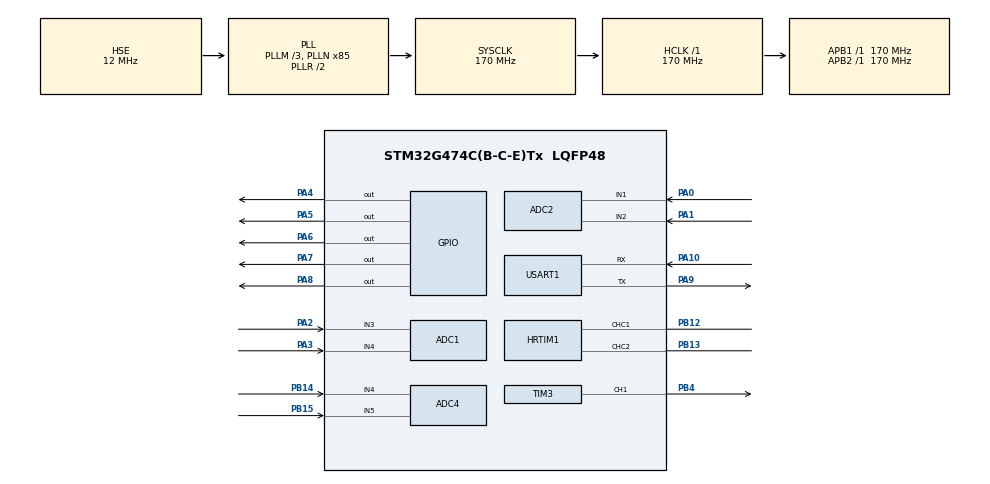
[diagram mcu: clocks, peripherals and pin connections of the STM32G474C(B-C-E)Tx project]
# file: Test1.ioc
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ADC1.Channel-1\#ChannelRegularConversion=ADC_CHANNEL_3
ADC1.DMAAccessModeView=ENABLE
ADC1.DMAContinuousRequests=ENABLE
ADC1.ExternalTrigConv=ADC_EXTERNALTRIG_HRTIM_TRG1
ADC1.Mode=ADC_DUALMODE_REGSIMULT
ADC1.NbrOfConversionFlag=1
ADC1.OffsetNumber-1\#ChannelRegularConversion=ADC_OFFSET_NONE
ADC1.OversamplingMode=ENABLE
ADC1.Rank-1\#ChannelRegularConversion=1
ADC1.Ratio=ADC_OVERSAMPLING_RATIO_4
ADC1.RightBitShift=ADC_RIGHTBITSHIFT_2
ADC1.SamplingTime-1\#ChannelRegularConversion=ADC_SAMPLETIME_6CYCLES_5
ADC1.SingleDiff-1\#ChannelRegularConversion=ADC_DIFFERENTIAL_ENDED
ADC1.master=1
ADC2.Channel-0\#ChannelRegularConversion=ADC_CHANNEL_1
ADC2.DMAAccessModeView=ENABLE
ADC2.Mode=ADC_DUALMODE_REGSIMULT
ADC2.NbrOfConversionFlag=1
ADC2.OffsetNumber-0\#ChannelRegularConversion=ADC_OFFSET_NONE
ADC2.OversamplingMode=ENABLE
ADC2.Rank-0\#ChannelRegularConversion=1
ADC2.Ratio=ADC_OVERSAMPLING_RATIO_4
ADC2.RightBitShift=ADC_RIGHTBITSHIFT_2
ADC2.SamplingTime-0\#ChannelRegularConversion=ADC_SAMPLETIME_6CYCLES_5
ADC2.SingleDiff-0\#ChannelRegularConversion=ADC_DIFFERENTIAL_ENDED
ADC4.Channel-0\#ChannelRegularConversion=ADC_CHANNEL_4
ADC4.DMAContinuousRequests=ENABLE
ADC4.ExternalTrigConv=ADC_EXTERNALTRIG_HRTIM_TRG1
ADC4.NbrOfConversionFlag=1
ADC4.OffsetNumber-0\#ChannelRegularConversion=ADC_OFFSET_NONE
ADC4.OversamplingMode=ENABLE
ADC4.Rank-0\#ChannelRegularConversion=1
ADC4.Ratio=ADC_OVERSAMPLING_RATIO_4
ADC4.RightBitShift=ADC_RIGHTBITSHIFT_2
ADC4.SamplingTime-0\#ChannelRegularConversion=ADC_SAMPLETIME_6CYCLES_5
ADC4.SingleDiff-0\#ChannelRegularConversion=ADC_DIFFERENTIAL_ENDED
Dma.ADC1.0.Direction=DMA_PERIPH_TO_MEMORY
Dma.ADC1.0.EventEnable=DISABLE
Dma.ADC1.0.Instance=DMA1_Channel1
Dma.ADC1.0.MemDataAlignment=DMA_MDATAALIGN_WORD
Dma.ADC1.0.MemInc=DMA_MINC_ENABLE
Dma.ADC1.0.Mode=DMA_CIRCULAR
Dma.ADC1.0.PeriphDataAlignment=DMA_PDATAALIGN_WORD
Dma.ADC1.0.PeriphInc=DMA_PINC_DISABLE
Dma.ADC1.0.Polarity=HAL_DMAMUX_REQ_GEN_RISING
Dma.ADC1.0.Priority=DMA_PRIORITY_VERY_HIGH
Dma.ADC1.0.RequestNumber=1
Dma.ADC1.0.SignalID=NONE
Dma.ADC1.0.SyncEnable=DISABLE
Dma.ADC1.0.SyncPolarity=HAL_DMAMUX_SYNC_NO_EVENT
Dma.ADC1.0.SyncRequestNumber=1
Dma.ADC1.0.SyncSignalID=NONE
Dma.ADC4.1.Direction=DMA_PERIPH_TO_MEMORY
Dma.ADC4.1.EventEnable=DISABLE
Dma.ADC4.1.Instance=DMA1_Channel2
Dma.ADC4.1.MemDataAlignment=DMA_MDATAALIGN_HALFWORD
Dma.ADC4.1.MemInc=DMA_MINC_ENABLE
Dma.ADC4.1.Mode=DMA_CIRCULAR
Dma.ADC4.1.PeriphDataAlignment=DMA_PDATAALIGN_HALFWORD
Dma.ADC4.1.PeriphInc=DMA_PINC_DISABLE
Dma.ADC4.1.Polarity=HAL_DMAMUX_REQ_GEN_RISING
Dma.ADC4.1.Priority=DMA_PRIORITY_HIGH
Dma.ADC4.1.RequestNumber=1
Dma.ADC4.1.SignalID=NONE
Dma.ADC4.1.SyncEnable=DISABLE
Dma.ADC4.1.SyncPolarity=HAL_DMAMUX_SYNC_NO_EVENT
Dma.ADC4.1.SyncRequestNumber=1
Dma.ADC4.1.SyncSignalID=NONE
Dma.Request0=ADC1
Dma.Request1=ADC4
HRTIM1.ADCTrigger1_Source1=HRTIM_ADCTRIGGEREVENT13_MASTER_CMP1
HRTIM1.ADCTrigger_Id1=HRTIM_ADCTRIGGER_1
HRTIM1.ADCTrigger_Id2=__NULL
HRTIM1.CompareUnit1-MasterTimer=HRTIM_COMPAREUNIT_1
HRTIM1.CompareUnit1-Output_TC1TC2=HRTIM_COMPAREUNIT_1
HRTIM1.CompareUnit2-Output_TC1TC2=HRTIM_COMPAREUNIT_2
HRTIM1.CompareUnit3-MasterTimer=__NULL
HRTIM1.CompareUnit3-Output_TC1TC2=HRTIM_COMPAREUNIT_3
HRTIM1.CompareUnit4-Output_TC1TC2=HRTIM_COMPAREUNIT_4
HRTIM1.CompareValue1-MasterTimer=26200
HRTIM1.CompareValue1-Output_TC1TC2=13600
HRTIM1.CompareValue2-Output_TC1TC2=27200
HRTIM1.CompareValue3-Output_TC1TC2=30000
HRTIM1.CompareValue4-Output_TC1TC2=40000
HRTIM1.Deadtimeconfig-Output_TC1TC2=__NULL
HRTIM1.GreaterCMP1_TC=HRTIM_TIMERGTCMP1_EQUAL
HRTIM1.NumberADCTriggerSource1=1
HRTIM1.NumberResetSource1-Output_TC1TC2=2
HRTIM1.NumberSetSource1-Output_TC1TC2=2
HRTIM1.ORingUpdateSource_ADCTrigger1=HRTIM_ADCTRIGGERUPDATE_MASTER
HRTIM1.Periode_MASTER=54400
HRTIM1.Periode_TC=54400
HRTIM1.PreloadEnable-MasterTimer=HRTIM_PRELOAD_ENABLED
HRTIM1.PreloadEnable-Output_TC1TC2=HRTIM_PRELOAD_ENABLED
HRTIM1.PrescalerRatio_MASTER=HRTIM_PRESCALERRATIO_MUL16
HRTIM1.PrescalerRatio_TC=HRTIM_PRESCALERRATIO_MUL16
HRTIM1.RepetitionCounter-MasterTimer=0
HRTIM1.RepetitionUpdate-MasterTimer=HRTIM_UPDATEONREPETITION_ENABLED
HRTIM1.RepetitionUpdate-Output_TC1TC2=HRTIM_UPDATEONREPETITION_ENABLED
HRTIM1.ResetOutput1_Source1-Output_TC1TC2=HRTIM_OUTPUTRESET_TIMCMP2
HRTIM1.ResetOutput1_Source2-Output_TC1TC2=HRTIM_OUTPUTRESET_TIMCMP4
HRTIM1.SetOutput1_Source1-Output_TC1TC2=HRTIM_OUTPUTSET_TIMCMP1
HRTIM1.SetOutput1_Source2-Output_TC1TC2=HRTIM_OUTPUTSET_TIMCMP3
HRTIM1.UpDownMode-Output_TC1TC2=HRTIM_TIMERUPDOWNMODE_UP
Mcu.Family=STM32G4
Mcu.Name=STM32G474C(B-C-E)Tx
Mcu.Package=LQFP48
NVIC.DMA1_Channel2_IRQn=true\:0\:0\:false\:false\:false\:true\:true\:true
NVIC.PriorityGroup=NVIC_PRIORITYGROUP_4
NVIC.TIM1_UP_TIM16_IRQn=true\:1\:0\:true\:false\:false\:true\:true\:true
PA0.Mode=IN1-Differential
PA0.Signal=ADC2_IN1
PA1.Mode=IN1-Differential
PA1.Signal=ADC2_IN2
PA10.Mode=Asynchronous
PA10.Signal=USART1_RX
PA13.Mode=JTAG_4_pins
PA13.Signal=SYS_JTMS-SWDIO
PA14.Mode=JTAG_4_pins
PA14.Signal=SYS_JTCK-SWCLK
PA15.Mode=JTAG_4_pins
PA15.Signal=SYS_JTDI
PA2.Mode=IN3-Differential
PA2.Signal=ADC1_IN3
PA3.Mode=IN3-Differential
PA3.Signal=ADC1_IN4
PA4.Signal=GPIO_Output
PA5.Signal=GPIO_Output
PA6.Signal=GPIO_Output
PA7.Signal=GPIO_Output
PA8.GPIO_Speed=GPIO_SPEED_FREQ_MEDIUM
PA8.PinState=GPIO_PIN_RESET
PA8.Signal=GPIO_Output
PA9.Mode=Asynchronous
PA9.Signal=USART1_TX
PB12.Mode=Output_TC1TC2
PB12.Signal=HRTIM1_CHC1
PB13.Mode=Output_TC1TC2
PB13.Signal=HRTIM1_CHC2
PB14.Mode=IN4-Differential
PB14.Signal=ADC4_IN4
PB15.Mode=IN4-Differential
PB15.Signal=ADC4_IN5
PB3.Mode=JTAG_4_pins
PB3.Signal=SYS_JTDO-SWO
PB4.Signal=S_TIM3_CH1
PF0-OSC_IN.Mode=HSE-External-Oscillator
PF0-OSC_IN.Signal=RCC_OSC_IN
PF1-OSC_OUT.Mode=HSE-External-Oscillator
PF1-OSC_OUT.Signal=RCC_OSC_OUT
ProjectManager.HeapSize=0x200
ProjectManager.StackSize=0x400
ProjectManager.TargetToolchain=CMake
RCC.ADC12Freq_Value=170000000
RCC.ADC345Freq_Value=170000000
RCC.AHBFreq_Value=170000000
RCC.APB1Freq_Value=170000000
RCC.APB1TimFreq_Value=170000000
RCC.APB2Freq_Value=170000000
RCC.APB2TimFreq_Value=170000000
RCC.CortexFreq_Value=170000000
RCC.EXTERNAL_CLOCK_VALUE=12288000
RCC.HCLKFreq_Value=170000000
RCC.HSE_VALUE=12000000
RCC.HSI48_VALUE=48000000
RCC.HSI_VALUE=16000000
RCC.LSE_VALUE=32768
RCC.PLLM=RCC_PLLM_DIV3
RCC.PLLN=85
RCC.PLLSourceVirtual=RCC_PLLSOURCE_HSE
RCC.SYSCLKFreq_VALUE=170000000
RCC.SYSCLKSource=RCC_SYSCLKSOURCE_PLLCLK
RCC.USBFreq_Value=170000000
RCC.VCOOutputFreq_Value=340000000
SH.S_TIM3_CH1.0=TIM3_CH1,PWM Generation1 CH1
TIM1.Channel-Output\ Compare1\ No\ Output=TIM_CHANNEL_1
TIM1.PeriodNoDither=100
TIM1.Prescaler=1699
TIM3.Channel-PWM\ Generation1\ CH1=TIM_CHANNEL_1
TIM3.PeriodNoDither=3999
TIM3.Prescaler=169
USART1.VirtualMode-Asynchronous=VM_ASYNC
VP_CORDIC_VS_CORDIC.Mode=CORDIC_Activate
VP_HRTIM1_VS_hrtimMasterTimerNoOutput.Mode=MasterTimer
VP_SYS_VS_DBSignals.Mode=DisableDeadBatterySignals
VP_SYS_V_VREFBUF.Mode=ExternalMode
VP_TIM1_VS_ClockSourceINT.Mode=Internal
VP_TIM1_VS_no_output1.Mode=Output Compare1 No Output
VP_TIM3_VS_ClockSourceINT.Mode=Internal
board=custom

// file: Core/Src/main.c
/* USER CODE BEGIN Header */
/**
  ******************************************************************************
  * @file           : main.c
  * @brief          : Main program body
  ******************************************************************************
  * @attention
  *
  * Copyright (c) 2026 STMicroelectronics.
  * All rights reserved.
  *
  * This software is licensed under terms that can be found in the LICENSE file
  * in the root directory of this software component.
  * If no LICENSE file comes with this software, it is provided AS-IS.
  *
  ******************************************************************************
  */
/* USER CODE END Header */
#include "main.h"

/* USER CODE BEGIN Includes */
#include "droop_control.h"
#include "fast_math.h"
#include "stimulus.h"
#include "stats_uart.h"
/* USER CODE END Includes */

ADC_HandleTypeDef hadc1;
ADC_HandleTypeDef hadc2;
ADC_HandleTypeDef hadc4;
DMA_HandleTypeDef hdma_adc1;
DMA_HandleTypeDef hdma_adc4;

CORDIC_HandleTypeDef hcordic;

HRTIM_HandleTypeDef hhrtim1;

TIM_HandleTypeDef htim1;
TIM_HandleTypeDef htim3;

UART_HandleTypeDef huart1;

void SystemClock_Config(void);
static void MX_GPIO_Init(void);
static void MX_DMA_Init(void);
static void MX_TIM3_Init(void);
static void MX_USART1_UART_Init(void);
static void MX_ADC1_Init(void);
static void MX_HRTIM1_Init(void);
static void MX_CORDIC_Init(void);
static void MX_TIM1_Init(void);
static void MX_ADC2_Init(void);
static void MX_ADC4_Init(void);

/* USER CODE BEGIN 0 */
/* ============ 50 kHz fast control loop, driven by the ADC DMA streams ============
 * All peripheral configuration comes from CubeMX (do not touch it here):
 *   DMA1_Channel1 : ADC1, WORD/WORD, CIRCULAR,  req ADC1  -> ADC1+ADC2 dual
 *   DMA1_Channel2 : ADC4, HALFWORD/HALFWORD, req ADC4
 *   NVIC: DMA1_Channel1_IRQn and DMA1_Channel2_IRQn enabled by MX_DMA_Init()
 *
 * ADC1 (master) + ADC2 (slave, dual regular simultaneous) are started with
 * HAL_ADCEx_MultiModeStart_DMA(); the DMA moves 32-bit words from
 * ADC12_COMMON->CDR:  [15:0] = ADC1 raw, [31:16] = ADC2 raw.
 * ADC4 has its own trigger (same HRTIM_TRG1) and its own DMA channel.
 *
 * Both buffers hold 2 entries, so half-complete + complete fire once per
 * trigger => the fast chain runs at 50 kHz from the DMA interrupt.
 *
 * PA8 : high during the fast chain      PA4 : high during the slow chain (TIM1)
 * NOTE: keep this section ASCII-only, CubeMX mangles non-ASCII user code.
 */
static uint32_t s_adc12[1];   /* [15:0] = ADC1 raw, [31:16] = ADC2 raw */
static uint16_t s_adc4[1];    /* ADC4 raw                             */

/* ---- hot code is copied to CCM SRAM at boot (see Ccm_Copy) ---- */
#define MAIN_RAMFUNC  __attribute__((section(".ccmram")))

extern uint32_t _siccmram[];   /* load address (in FLASH)  */
extern uint32_t _sccmram[];    /* run address  (in CCM)    */
extern uint32_t _eccmram[];    /* end in CCM               */

static void Ccm_Copy(void)
{
  uint32_t *src = _siccmram;
  uint32_t *dst = _sccmram;
  while (dst < _eccmram) { *dst++ = *src++; }
  __DSB();
  __ISB();
}

volatile uint16_t g_adc1_raw   = 0u;
volatile uint16_t g_adc2_raw   = 0u;
volatile uint16_t g_adc4_raw   = 0u;
volatile uint32_t g_isr_count  = 0u;   /* 50 kHz fast steps (DMA callbacks) */
volatile uint32_t g_slow_count = 0u;   /* 1 kHz slow steps (TIM1)           */
volatile uint32_t g_main_loops = 0u;   /* main-loop iterations (probe)      */
volatile uint32_t g_adc4_cnt   = 0u;   /* DMA1_Ch2 completion polls         */
static   float    g_duty[3]    = {0.0f, 0.0f, 0.0f};

/* ADC4's DMA mode as configured in CubeMX:
 *   0 = DMA_NORMAL   -> the channel stops after 2 samples, so re-arm it here
 *   1 = DMA_CIRCULAR -> nothing to do, just clear the flags
 * Change this to 1 once ADC4's DMA is set to Circular in CubeMX. */
#ifndef ADC4_DMA_IS_CIRCULAR
#define ADC4_DMA_IS_CIRCULAR 1   /* CubeMX: Dma.ADC4.1.Mode = DMA_CIRCULAR */
#endif

/* ================== three-phase sample set -> ONE control step ==================
 * One HRTIM trigger converts ALL THREE phases at the same instant:
 *   ADC1(master) + ADC2(slave, dual regular simultaneous) -> DMA1_Channel1
 *   ADC4                                                   -> DMA1_Channel2
 * Both DMA streams use a SINGLE entry (buffer length 1, circular), so every
 * transfer completion carries exactly one fresh sample of this trigger.
 *
 * The control step must see the three phases sampled at the SAME time
 * ("three data, one processing"), so a step is executed only when BOTH streams
 * have delivered their word for this trigger. The step itself runs once per
 * trigger -> uniform 50 kHz, no sample is a cycle late.
 *
 * Interrupt routing (CubeMX): only DMA1_Channel2 has a NVIC line, so the step is
 * issued there; DMA1_Channel1 is polled (bounded wait of a few cycles since both
 * ADCs start on the same trigger). If channel 1's NVIC line is ever enabled,
 * its handler below only marks the word as ready (no duplicate step).
 * ---------------------------------------------------------------------------- */
MAIN_RAMFUNC static void Fast_Step(uint32_t adc12_word, uint16_t adc4_word);
static volatile uint8_t s_adc12_ready;

#define CH1_FLAGS  (DMA_ISR_GIF1 | DMA_ISR_TCIF1 | DMA_ISR_HTIF1 | DMA_ISR_TEIF1)
#define CH2_FLAGS  (DMA_ISR_GIF2 | DMA_ISR_TCIF2 | DMA_ISR_HTIF2 | DMA_ISR_TEIF2)

/* Only used if CubeMX enables DMA1_Channel1's NVIC line: mark data ready. */
MAIN_RAMFUNC void DMA1_Channel1_IRQHandler(void)
{
  uint32_t f1 = DMA1->ISR & CH1_FLAGS;
  if (f1 != 0u)
  {
    DMA1->IFCR = f1;                 /* clear ALL channel-1 flags (level IRQ) */
    s_adc12_ready = 1u;
  }
}

MAIN_RAMFUNC void DMA1_Channel2_IRQHandler(void)
{
  /* ---- ADC4 word of this trigger ----
   * Clear ALL four channel-2 flags: a pending HT flag would keep the level
   * driven interrupt asserted and the ISR would re-enter forever. */
  uint32_t f2 = DMA1->ISR & CH2_FLAGS;
  if (f2 != 0u)
  {
    DMA1->IFCR = f2;
    g_adc4_cnt++;
  }

#if (ADC4_DMA_IS_CIRCULAR == 0)
  if (hdma_adc4.Instance->CNDTR == 0u)             /* DMA_NORMAL fallback */
  {
    __HAL_DMA_DISABLE(&hdma_adc4);
    hdma_adc4.Instance->CNDTR = 1u;
    __HAL_DMA_ENABLE(&hdma_adc4);
  }
#endif

  /* ---- ADC1+ADC2 word of the SAME trigger: poll it here (no NVIC line) ---- */
  uint32_t f1 = DMA1->ISR & CH1_FLAGS;
  if (f1 != 0u)
  {
    DMA1->IFCR = f1;
    s_adc12_ready = 1u;
  }
  else if (s_adc12_ready == 0u)
  {
    /* Safety net only: over 229k measured triggers channel 1 (ADC1+ADC2,
     * DMA priority VERY_HIGH) was ALREADY complete 100% of the time when this
     * channel-2 interrupt fired, so this loop never iterates in practice.
     * Kept short so an unforeseen stall cannot block the ISR. */
    uint32_t guard = 0u;
    do
    {
      f1 = DMA1->ISR & CH1_FLAGS;
      guard++;
    } while ((f1 == 0u) && (guard < 8u));

    if (f1 != 0u)
    {
      DMA1->IFCR = f1;
      s_adc12_ready = 1u;
    }
  }

  /* ---- one control step per trigger, using the three phases of that instant ---- */
  if (s_adc12_ready != 0u)
  {
    s_adc12_ready = 0u;
    Fast_Step(s_adc12[0], s_adc4[0]);
  }
}

void TIM1_UP_TIM16_IRQHandler(void)
{
  HAL_TIM_IRQHandler(&htim1);
}

/* TIM1 update IRQ (1 kHz): SOGI-FLL + DROOP */
void HAL_TIM_PeriodElapsedCallback(TIM_HandleTypeDef *htim)
{
  if (htim->Instance == TIM1)
  {
    GPIOA->BSRR = GPIO_PIN_4;
    DroopCtl_StepSlow(&g_droop);
    GPIOA->BSRR = (uint32_t)GPIO_PIN_4 << 16u;
    g_slow_count++;
  }
}

/* One 50 kHz fast step: ADC data -> control chain */
MAIN_RAMFUNC static void Fast_Step(uint32_t adc12_word, uint16_t adc4_word)
{
  g_adc1_raw = (uint16_t)(adc12_word & 0xFFFFu);
  g_adc2_raw = (uint16_t)(adc12_word >> 16);
  g_adc4_raw = adc4_word;

  /* synthetic 3-phase stimulus feeds the chain (no real hardware yet) */
  STIM_Next();

  GPIOA->BSRR = GPIO_PIN_8;
  DroopCtl_Step(&g_droop, g_stim_vcap_line, g_stim_i1, g_stim_i2,
                g_stim_vgrid_line, g_duty);
  GPIOA->BSRR = (uint32_t)GPIO_PIN_8 << 16u;

  g_isr_count++;
}

void HAL_ADC_ConvHalfCpltCallback(ADC_HandleTypeDef *hadc)
{
  /* Not used: the ADC1/ADC2 stream has no NVIC line, its flags are polled in
   * DMA1_Channel2_IRQHandler(). Kept empty on purpose. */
  (void)hadc;
}

void HAL_ADC_ConvCpltCallback(ADC_HandleTypeDef *hadc)
{
  (void)hadc;
}
/* USER CODE END 0 */

int main(void)
{

  /* MCU Configuration--------------------------------------------------------*/

  /* Reset of all peripherals, Initializes the Flash interface and the Systick. */
  HAL_Init();

  /* Configure the system clock */
  SystemClock_Config();

  /* Initialize all configured peripherals */
  MX_GPIO_Init();
  MX_DMA_Init();
  MX_TIM3_Init();
  MX_USART1_UART_Init();
  MX_ADC1_Init();
  MX_HRTIM1_Init();
  MX_CORDIC_Init();
  MX_TIM1_Init();
  MX_ADC2_Init();
  MX_ADC4_Init();
  /* USER CODE BEGIN 2 */
  /* ---- HRTIM start (CubeMX-generated settings, unchanged) ---- */
  if (HAL_HRTIM_WaveformCountStart(&hhrtim1,
                                   HRTIM_TIMERID_MASTER | HRTIM_TIMERID_TIMER_C) != HAL_OK)
  {
    Error_Handler();
  }
  if (HAL_HRTIM_WaveformOutputStart(&hhrtim1, HRTIM_OUTPUT_TC1 | HRTIM_OUTPUT_TC2) != HAL_OK)
  {
    Error_Handler();
  }

  /* ---- control algorithm / CORDIC / synthetic stimulus init ---- */
  FastMath_Init();
  STIM_Init();
  DroopCtl_Init(&g_droop);

  /* ---- TIM1 1 kHz slow loop (SOGI-FLL + DROOP) ---- */
  if (HAL_TIM_Base_Start_IT(&htim1) != HAL_OK)
  {
    Error_Handler();
  }

  /* ---- start the ADC sampling chains (peripheral config is from CubeMX) ---- */
  if (HAL_ADCEx_Calibration_Start(&hadc1, ADC_DIFFERENTIAL_ENDED) != HAL_OK)
  {
    Error_Handler();
  }
  if (HAL_ADCEx_Calibration_Start(&hadc4, ADC_DIFFERENTIAL_ENDED) != HAL_OK)
  {
    Error_Handler();
  }
  /* ---- copy the hot fast-chain code into CCM SRAM before the ISRs start ---- */
  Ccm_Copy();

  /* One DMA entry per trigger: every completion carries one fresh sample set */
  if (HAL_ADCEx_MultiModeStart_DMA(&hadc1, s_adc12, 1u) != HAL_OK)   /* ADC1 + ADC2 */
  {
    Error_Handler();
  }
  if (HAL_ADC_Start_DMA(&hadc4, (uint32_t *)s_adc4, 1u) != HAL_OK)  /* ADC4        */
  {
    Error_Handler();
  }
  /* USER CODE END 2 */

  /* Infinite loop */
  while (1)
  {

    /* USER CODE BEGIN 3 */
    g_main_loops++;   /* liveness probe: proves the main loop still gets CPU time */
  }
  /* USER CODE END 3 */
}

void SystemClock_Config(void)
{
  RCC_OscInitTypeDef RCC_OscInitStruct = {0};
  RCC_ClkInitTypeDef RCC_ClkInitStruct = {0};

  /** Configure the main internal regulator output voltage
  */
  HAL_PWREx_ControlVoltageScaling(PWR_REGULATOR_VOLTAGE_SCALE1_BOOST);

  /** Initializes the RCC Oscillators according to the specified parameters
  * in the RCC_OscInitTypeDef structure.
  */
  RCC_OscInitStruct.OscillatorType = RCC_OSCILLATORTYPE_HSE;
  RCC_OscInitStruct.HSEState = RCC_HSE_ON;
  RCC_OscInitStruct.PLL.PLLState = RCC_PLL_ON;
  RCC_OscInitStruct.PLL.PLLSource = RCC_PLLSOURCE_HSE;
  RCC_OscInitStruct.PLL.PLLM = RCC_PLLM_DIV3;
  RCC_OscInitStruct.PLL.PLLN = 85;
  RCC_OscInitStruct.PLL.PLLP = RCC_PLLP_DIV2;
  RCC_OscInitStruct.PLL.PLLQ = RCC_PLLQ_DIV2;
  RCC_OscInitStruct.PLL.PLLR = RCC_PLLR_DIV2;
  if (HAL_RCC_OscConfig(&RCC_OscInitStruct) != HAL_OK)
  {
    Error_Handler();
  }

  /** Initializes the CPU, AHB and APB buses clocks
  */
  RCC_ClkInitStruct.ClockType = RCC_CLOCKTYPE_HCLK|RCC_CLOCKTYPE_SYSCLK
                              |RCC_CLOCKTYPE_PCLK1|RCC_CLOCKTYPE_PCLK2;
  RCC_ClkInitStruct.SYSCLKSource = RCC_SYSCLKSOURCE_PLLCLK;
  RCC_ClkInitStruct.AHBCLKDivider = RCC_SYSCLK_DIV1;
  RCC_ClkInitStruct.APB1CLKDivider = RCC_HCLK_DIV1;
  RCC_ClkInitStruct.APB2CLKDivider = RCC_HCLK_DIV1;

  if (HAL_RCC_ClockConfig(&RCC_ClkInitStruct, FLASH_LATENCY_4) != HAL_OK)
  {
    Error_Handler();
  }
}

static void MX_ADC1_Init(void)
{

  ADC_MultiModeTypeDef multimode = {0};
  ADC_ChannelConfTypeDef sConfig = {0};

  /** Common config
  */
  hadc1.Instance = ADC1;
  hadc1.Init.ClockPrescaler = ADC_CLOCK_SYNC_PCLK_DIV4;
  hadc1.Init.Resolution = ADC_RESOLUTION_12B;
  hadc1.Init.DataAlign = ADC_DATAALIGN_RIGHT;
  hadc1.Init.GainCompensation = 0;
  hadc1.Init.ScanConvMode = ADC_SCAN_DISABLE;
  hadc1.Init.EOCSelection = ADC_EOC_SINGLE_CONV;
  hadc1.Init.LowPowerAutoWait = DISABLE;
  hadc1.Init.ContinuousConvMode = DISABLE;
  hadc1.Init.NbrOfConversion = 1;
  hadc1.Init.DiscontinuousConvMode = DISABLE;
  hadc1.Init.ExternalTrigConv = ADC_EXTERNALTRIG_HRTIM_TRG1;
  hadc1.Init.ExternalTrigConvEdge = ADC_EXTERNALTRIGCONVEDGE_RISING;
  hadc1.Init.DMAContinuousRequests = ENABLE;
  hadc1.Init.Overrun = ADC_OVR_DATA_PRESERVED;
  hadc1.Init.OversamplingMode = ENABLE;
  hadc1.Init.Oversampling.Ratio = ADC_OVERSAMPLING_RATIO_4;
  hadc1.Init.Oversampling.RightBitShift = ADC_RIGHTBITSHIFT_2;
  hadc1.Init.Oversampling.TriggeredMode = ADC_TRIGGEREDMODE_SINGLE_TRIGGER;
  hadc1.Init.Oversampling.OversamplingStopReset = ADC_REGOVERSAMPLING_CONTINUED_MODE;
  if (HAL_ADC_Init(&hadc1) != HAL_OK)
  {
    Error_Handler();
  }

  /** Configure the ADC multi-mode
  */
  multimode.Mode = ADC_DUALMODE_REGSIMULT;
  multimode.DMAAccessMode = ADC_DMAACCESSMODE_12_10_BITS;
  multimode.TwoSamplingDelay = ADC_TWOSAMPLINGDELAY_1CYCLE;
  if (HAL_ADCEx_MultiModeConfigChannel(&hadc1, &multimode) != HAL_OK)
  {
    Error_Handler();
  }

  /** Configure Regular Channel
  */
  sConfig.Channel = ADC_CHANNEL_3;
  sConfig.Rank = ADC_REGULAR_RANK_1;
  sConfig.SamplingTime = ADC_SAMPLETIME_6CYCLES_5;
  sConfig.SingleDiff = ADC_DIFFERENTIAL_ENDED;
  sConfig.OffsetNumber = ADC_OFFSET_NONE;
  sConfig.Offset = 0;
  if (HAL_ADC_ConfigChannel(&hadc1, &sConfig) != HAL_OK)
  {
    Error_Handler();
  }

}

static void MX_ADC2_Init(void)
{

  ADC_ChannelConfTypeDef sConfig = {0};

  /** Common config
  */
  hadc2.Instance = ADC2;
  hadc2.Init.ClockPrescaler = ADC_CLOCK_SYNC_PCLK_DIV4;
  hadc2.Init.Resolution = ADC_RESOLUTION_12B;
  hadc2.Init.DataAlign = ADC_DATAALIGN_RIGHT;
  hadc2.Init.GainCompensation = 0;
  hadc2.Init.ScanConvMode = ADC_SCAN_DISABLE;
  hadc2.Init.EOCSelection = ADC_EOC_SINGLE_CONV;
  hadc2.Init.LowPowerAutoWait = DISABLE;
  hadc2.Init.ContinuousConvMode = DISABLE;
  hadc2.Init.NbrOfConversion = 1;
  hadc2.Init.DiscontinuousConvMode = DISABLE;
  hadc2.Init.DMAContinuousRequests = DISABLE;
  hadc2.Init.Overrun = ADC_OVR_DATA_PRESERVED;
  hadc2.Init.OversamplingMode = ENABLE;
  hadc2.Init.Oversampling.Ratio = ADC_OVERSAMPLING_RATIO_4;
  hadc2.Init.Oversampling.RightBitShift = ADC_RIGHTBITSHIFT_2;
  hadc2.Init.Oversampling.TriggeredMode = ADC_TRIGGEREDMODE_SINGLE_TRIGGER;
  hadc2.Init.Oversampling.OversamplingStopReset = ADC_REGOVERSAMPLING_CONTINUED_MODE;
  if (HAL_ADC_Init(&hadc2) != HAL_OK)
  {
    Error_Handler();
  }

  /** Configure Regular Channel
  */
  sConfig.Channel = ADC_CHANNEL_1;
  sConfig.Rank = ADC_REGULAR_RANK_1;
  sConfig.SamplingTime = ADC_SAMPLETIME_6CYCLES_5;
  sConfig.SingleDiff = ADC_DIFFERENTIAL_ENDED;
  sConfig.OffsetNumber = ADC_OFFSET_NONE;
  sConfig.Offset = 0;
  if (HAL_ADC_ConfigChannel(&hadc2, &sConfig) != HAL_OK)
  {
    Error_Handler();
  }

}

static void MX_ADC4_Init(void)
{

  ADC_ChannelConfTypeDef sConfig = {0};

  /** Common config
  */
  hadc4.Instance = ADC4;
  hadc4.Init.ClockPrescaler = ADC_CLOCK_SYNC_PCLK_DIV4;
  hadc4.Init.Resolution = ADC_RESOLUTION_12B;
  hadc4.Init.DataAlign = ADC_DATAALIGN_RIGHT;
  hadc4.Init.GainCompensation = 0;
  hadc4.Init.ScanConvMode = ADC_SCAN_DISABLE;
  hadc4.Init.EOCSelection = ADC_EOC_SINGLE_CONV;
  hadc4.Init.LowPowerAutoWait = DISABLE;
  hadc4.Init.ContinuousConvMode = DISABLE;
  hadc4.Init.NbrOfConversion = 1;
  hadc4.Init.DiscontinuousConvMode = DISABLE;
  hadc4.Init.ExternalTrigConv = ADC_EXTERNALTRIG_HRTIM_TRG1;
  hadc4.Init.ExternalTrigConvEdge = ADC_EXTERNALTRIGCONVEDGE_RISING;
  hadc4.Init.DMAContinuousRequests = ENABLE;
  hadc4.Init.Overrun = ADC_OVR_DATA_PRESERVED;
  hadc4.Init.OversamplingMode = ENABLE;
  hadc4.Init.Oversampling.Ratio = ADC_OVERSAMPLING_RATIO_4;
  hadc4.Init.Oversampling.RightBitShift = ADC_RIGHTBITSHIFT_2;
  hadc4.Init.Oversampling.TriggeredMode = ADC_TRIGGEREDMODE_SINGLE_TRIGGER;
  hadc4.Init.Oversampling.OversamplingStopReset = ADC_REGOVERSAMPLING_CONTINUED_MODE;
  if (HAL_ADC_Init(&hadc4) != HAL_OK)
  {
    Error_Handler();
  }

  /** Configure Regular Channel
  */
  sConfig.Channel = ADC_CHANNEL_4;
  sConfig.Rank = ADC_REGULAR_RANK_1;
  sConfig.SamplingTime = ADC_SAMPLETIME_6CYCLES_5;
  sConfig.SingleDiff = ADC_DIFFERENTIAL_ENDED;
  sConfig.OffsetNumber = ADC_OFFSET_NONE;
  sConfig.Offset = 0;
  if (HAL_ADC_ConfigChannel(&hadc4, &sConfig) != HAL_OK)
  {
    Error_Handler();
  }

}

static void MX_CORDIC_Init(void)
{

  hcordic.Instance = CORDIC;
  if (HAL_CORDIC_Init(&hcordic) != HAL_OK)
  {
    Error_Handler();
  }

}

static void MX_HRTIM1_Init(void)
{

  HRTIM_ADCTriggerCfgTypeDef pADCTriggerCfg = {0};
  HRTIM_TimeBaseCfgTypeDef pTimeBaseCfg = {0};
  HRTIM_TimerCfgTypeDef pTimerCfg = {0};
  HRTIM_CompareCfgTypeDef pCompareCfg = {0};
  HRTIM_TimerCtlTypeDef pTimerCtl = {0};
  HRTIM_OutputCfgTypeDef pOutputCfg = {0};

  hhrtim1.Instance = HRTIM1;
  hhrtim1.Init.HRTIMInterruptResquests = HRTIM_IT_NONE;
  hhrtim1.Init.SyncOptions = HRTIM_SYNCOPTION_NONE;
  if (HAL_HRTIM_Init(&hhrtim1) != HAL_OK)
  {
    Error_Handler();
  }
  if (HAL_HRTIM_DLLCalibrationStart(&hhrtim1, HRTIM_CALIBRATIONRATE_3) != HAL_OK)
  {
    Error_Handler();
  }
  if (HAL_HRTIM_PollForDLLCalibration(&hhrtim1, 10) != HAL_OK)
  {
    Error_Handler();
  }
  pADCTriggerCfg.UpdateSource = HRTIM_ADCTRIGGERUPDATE_MASTER;
  pADCTriggerCfg.Trigger = HRTIM_ADCTRIGGEREVENT13_MASTER_CMP1;
  if (HAL_HRTIM_ADCTriggerConfig(&hhrtim1, HRTIM_ADCTRIGGER_1, &pADCTriggerCfg) != HAL_OK)
  {
    Error_Handler();
  }
  if (HAL_HRTIM_ADCPostScalerConfig(&hhrtim1, HRTIM_ADCTRIGGER_1, 0x0) != HAL_OK)
  {
    Error_Handler();
  }
  pTimeBaseCfg.Period = 54400;
  pTimeBaseCfg.RepetitionCounter = 0;
  pTimeBaseCfg.PrescalerRatio = HRTIM_PRESCALERRATIO_MUL16;
  pTimeBaseCfg.Mode = HRTIM_MODE_CONTINUOUS;
  if (HAL_HRTIM_TimeBaseConfig(&hhrtim1, HRTIM_TIMERINDEX_MASTER, &pTimeBaseCfg) != HAL_OK)
  {
    Error_Handler();
  }
  pTimerCfg.InterruptRequests = HRTIM_MASTER_IT_NONE;
  pTimerCfg.DMARequests = HRTIM_MASTER_DMA_NONE;
  pTimerCfg.DMASrcAddress = 0x0000;
  pTimerCfg.DMADstAddress = 0x0000;
  pTimerCfg.DMASize = 0x1;
  pTimerCfg.HalfModeEnable = HRTIM_HALFMODE_DISABLED;
  pTimerCfg.InterleavedMode = HRTIM_INTERLEAVED_MODE_DISABLED;
  pTimerCfg.StartOnSync = HRTIM_SYNCSTART_DISABLED;
  pTimerCfg.ResetOnSync = HRTIM_SYNCRESET_DISABLED;
  pTimerCfg.DACSynchro = HRTIM_DACSYNC_NONE;
  pTimerCfg.PreloadEnable = HRTIM_PRELOAD_ENABLED;
  pTimerCfg.UpdateGating = HRTIM_UPDATEGATING_INDEPENDENT;
  pTimerCfg.BurstMode = HRTIM_TIMERBURSTMODE_MAINTAINCLOCK;
  pTimerCfg.RepetitionUpdate = HRTIM_UPDATEONREPETITION_ENABLED;
  pTimerCfg.ReSyncUpdate = HRTIM_TIMERESYNC_UPDATE_UNCONDITIONAL;
  if (HAL_HRTIM_WaveformTimerConfig(&hhrtim1, HRTIM_TIMERINDEX_MASTER, &pTimerCfg) != HAL_OK)
  {
    Error_Handler();
  }
  pCompareCfg.CompareValue = 26200;
  if (HAL_HRTIM_WaveformCompareConfig(&hhrtim1, HRTIM_TIMERINDEX_MASTER, HRTIM_COMPAREUNIT_1, &pCompareCfg) != HAL_OK)
  {
    Error_Handler();
  }
  pTimeBaseCfg.RepetitionCounter = 0x00;
  if (HAL_HRTIM_TimeBaseConfig(&hhrtim1, HRTIM_TIMERINDEX_TIMER_C, &pTimeBaseCfg) != HAL_OK)
  {
    Error_Handler();
  }
  pTimerCtl.UpDownMode = HRTIM_TIMERUPDOWNMODE_UP;
  pTimerCtl.TrigHalf = HRTIM_TIMERTRIGHALF_DISABLED;
  pTimerCtl.GreaterCMP3 = HRTIM_TIMERGTCMP3_EQUAL;
  pTimerCtl.GreaterCMP1 = HRTIM_TIMERGTCMP1_EQUAL;
  pTimerCtl.DualChannelDacEnable = HRTIM_TIMER_DCDE_DISABLED;
  if (HAL_HRTIM_WaveformTimerControl(&hhrtim1, HRTIM_TIMERINDEX_TIMER_C, &pTimerCtl) != HAL_OK)
  {
    Error_Handler();
  }
  pTimerCfg.InterruptRequests = HRTIM_TIM_IT_NONE;
  pTimerCfg.DMARequests = HRTIM_TIM_DMA_NONE;
  pTimerCfg.PushPull = HRTIM_TIMPUSHPULLMODE_DISABLED;
  pTimerCfg.FaultEnable = HRTIM_TIMFAULTENABLE_NONE;
  pTimerCfg.FaultLock = HRTIM_TIMFAULTLOCK_READWRITE;
  pTimerCfg.DeadTimeInsertion = HRTIM_TIMDEADTIMEINSERTION_DISABLED;
  pTimerCfg.DelayedProtectionMode = HRTIM_TIMER_A_B_C_DELAYEDPROTECTION_DISABLED;
  pTimerCfg.UpdateTrigger = HRTIM_TIMUPDATETRIGGER_NONE;
  pTimerCfg.ResetTrigger = HRTIM_TIMRESETTRIGGER_NONE;
  pTimerCfg.ResetUpdate = HRTIM_TIMUPDATEONRESET_DISABLED;
  if (HAL_HRTIM_WaveformTimerConfig(&hhrtim1, HRTIM_TIMERINDEX_TIMER_C, &pTimerCfg) != HAL_OK)
  {
    Error_Handler();
  }
  pCompareCfg.CompareValue = 13600;
  if (HAL_HRTIM_WaveformCompareConfig(&hhrtim1, HRTIM_TIMERINDEX_TIMER_C, HRTIM_COMPAREUNIT_1, &pCompareCfg) != HAL_OK)
  {
    Error_Handler();
  }
  pCompareCfg.CompareValue = 27200;
  pCompareCfg.AutoDelayedMode = HRTIM_AUTODELAYEDMODE_REGULAR;
  pCompareCfg.AutoDelayedTimeout = 0x0000;

  if (HAL_HRTIM_WaveformCompareConfig(&hhrtim1, HRTIM_TIMERINDEX_TIMER_C, HRTIM_COMPAREUNIT_2, &pCompareCfg) != HAL_OK)
  {
    Error_Handler();
  }
  pCompareCfg.CompareValue = 30000;
  if (HAL_HRTIM_WaveformCompareConfig(&hhrtim1, HRTIM_TIMERINDEX_TIMER_C, HRTIM_COMPAREUNIT_3, &pCompareCfg) != HAL_OK)
  {
    Error_Handler();
  }
  pCompareCfg.CompareValue = 40000;

  if (HAL_HRTIM_WaveformCompareConfig(&hhrtim1, HRTIM_TIMERINDEX_TIMER_C, HRTIM_COMPAREUNIT_4, &pCompareCfg) != HAL_OK)
  {
    Error_Handler();
  }
  pOutputCfg.Polarity = HRTIM_OUTPUTPOLARITY_HIGH;
  pOutputCfg.SetSource = HRTIM_OUTPUTSET_TIMCMP1|HRTIM_OUTPUTSET_TIMCMP3;
  pOutputCfg.ResetSource = HRTIM_OUTPUTRESET_TIMCMP2|HRTIM_OUTPUTRESET_TIMCMP4;
  pOutputCfg.IdleMode = HRTIM_OUTPUTIDLEMODE_NONE;
  pOutputCfg.IdleLevel = HRTIM_OUTPUTIDLELEVEL_INACTIVE;
  pOutputCfg.FaultLevel = HRTIM_OUTPUTFAULTLEVEL_NONE;
  pOutputCfg.ChopperModeEnable = HRTIM_OUTPUTCHOPPERMODE_DISABLED;
  pOutputCfg.BurstModeEntryDelayed = HRTIM_OUTPUTBURSTMODEENTRY_REGULAR;
  if (HAL_HRTIM_WaveformOutputConfig(&hhrtim1, HRTIM_TIMERINDEX_TIMER_C, HRTIM_OUTPUT_TC1, &pOutputCfg) != HAL_OK)
  {
    Error_Handler();
  }
  pOutputCfg.SetSource = HRTIM_OUTPUTSET_NONE;
  pOutputCfg.ResetSource = HRTIM_OUTPUTRESET_NONE;
  if (HAL_HRTIM_WaveformOutputConfig(&hhrtim1, HRTIM_TIMERINDEX_TIMER_C, HRTIM_OUTPUT_TC2, &pOutputCfg) != HAL_OK)
  {
    Error_Handler();
  }
  HAL_HRTIM_MspPostInit(&hhrtim1);

}

static void MX_TIM1_Init(void)
{

  TIM_ClockConfigTypeDef sClockSourceConfig = {0};
  TIM_MasterConfigTypeDef sMasterConfig = {0};
  TIM_OC_InitTypeDef sConfigOC = {0};
  TIM_BreakDeadTimeConfigTypeDef sBreakDeadTimeConfig = {0};

  htim1.Instance = TIM1;
  htim1.Init.Prescaler = 1699;
  htim1.Init.CounterMode = TIM_COUNTERMODE_UP;
  htim1.Init.Period = 100;
  htim1.Init.ClockDivision = TIM_CLOCKDIVISION_DIV1;
  htim1.Init.RepetitionCounter = 0;
  htim1.Init.AutoReloadPreload = TIM_AUTORELOAD_PRELOAD_DISABLE;
  if (HAL_TIM_Base_Init(&htim1) != HAL_OK)
  {
    Error_Handler();
  }
  sClockSourceConfig.ClockSource = TIM_CLOCKSOURCE_INTERNAL;
  if (HAL_TIM_ConfigClockSource(&htim1, &sClockSourceConfig) != HAL_OK)
  {
    Error_Handler();
  }
  if (HAL_TIM_OC_Init(&htim1) != HAL_OK)
  {
    Error_Handler();
  }
  sMasterConfig.MasterOutputTrigger = TIM_TRGO_RESET;
  sMasterConfig.MasterOutputTrigger2 = TIM_TRGO2_RESET;
  sMasterConfig.MasterSlaveMode = TIM_MASTERSLAVEMODE_DISABLE;
  if (HAL_TIMEx_MasterConfigSynchronization(&htim1, &sMasterConfig) != HAL_OK)
  {
    Error_Handler();
  }
  sConfigOC.OCMode = TIM_OCMODE_TIMING;
  sConfigOC.Pulse = 0;
  sConfigOC.OCPolarity = TIM_OCPOLARITY_HIGH;
  sConfigOC.OCNPolarity = TIM_OCNPOLARITY_HIGH;
  sConfigOC.OCFastMode = TIM_OCFAST_DISABLE;
  sConfigOC.OCIdleState = TIM_OCIDLESTATE_RESET;
  sConfigOC.OCNIdleState = TIM_OCNIDLESTATE_RESET;
  if (HAL_TIM_OC_ConfigChannel(&htim1, &sConfigOC, TIM_CHANNEL_1) != HAL_OK)
  {
    Error_Handler();
  }
  sBreakDeadTimeConfig.OffStateRunMode = TIM_OSSR_DISABLE;
  sBreakDeadTimeConfig.OffStateIDLEMode = TIM_OSSI_DISABLE;
  sBreakDeadTimeConfig.LockLevel = TIM_LOCKLEVEL_OFF;
  sBreakDeadTimeConfig.DeadTime = 0;
  sBreakDeadTimeConfig.BreakState = TIM_BREAK_DISABLE;
  sBreakDeadTimeConfig.BreakPolarity = TIM_BREAKPOLARITY_HIGH;
  sBreakDeadTimeConfig.BreakFilter = 0;
  sBreakDeadTimeConfig.BreakAFMode = TIM_BREAK_AFMODE_INPUT;
  sBreakDeadTimeConfig.Break2State = TIM_BREAK2_DISABLE;
  sBreakDeadTimeConfig.Break2Polarity = TIM_BREAK2POLARITY_HIGH;
  sBreakDeadTimeConfig.Break2Filter = 0;
  sBreakDeadTimeConfig.Break2AFMode = TIM_BREAK_AFMODE_INPUT;
  sBreakDeadTimeConfig.AutomaticOutput = TIM_AUTOMATICOUTPUT_DISABLE;
  if (HAL_TIMEx_ConfigBreakDeadTime(&htim1, &sBreakDeadTimeConfig) != HAL_OK)
  {
    Error_Handler();
  }

}

static void MX_TIM3_Init(void)
{

  TIM_ClockConfigTypeDef sClockSourceConfig = {0};
  TIM_MasterConfigTypeDef sMasterConfig = {0};
  TIM_OC_InitTypeDef sConfigOC = {0};

  htim3.Instance = TIM3;
  htim3.Init.Prescaler = 169;
  htim3.Init.CounterMode = TIM_COUNTERMODE_UP;
  htim3.Init.Period = 3999;
  htim3.Init.ClockDivision = TIM_CLOCKDIVISION_DIV1;
  htim3.Init.AutoReloadPreload = TIM_AUTORELOAD_PRELOAD_DISABLE;
  if (HAL_TIM_Base_Init(&htim3) != HAL_OK)
  {
    Error_Handler();
  }
  sClockSourceConfig.ClockSource = TIM_CLOCKSOURCE_INTERNAL;
  if (HAL_TIM_ConfigClockSource(&htim3, &sClockSourceConfig) != HAL_OK)
  {
    Error_Handler();
  }
  if (HAL_TIM_PWM_Init(&htim3) != HAL_OK)
  {
    Error_Handler();
  }
  sMasterConfig.MasterOutputTrigger = TIM_TRGO_RESET;
  sMasterConfig.MasterSlaveMode = TIM_MASTERSLAVEMODE_DISABLE;
  if (HAL_TIMEx_MasterConfigSynchronization(&htim3, &sMasterConfig) != HAL_OK)
  {
    Error_Handler();
  }
  sConfigOC.OCMode = TIM_OCMODE_PWM1;
  sConfigOC.Pulse = 0;
  sConfigOC.OCPolarity = TIM_OCPOLARITY_HIGH;
  sConfigOC.OCFastMode = TIM_OCFAST_DISABLE;
  if (HAL_TIM_PWM_ConfigChannel(&htim3, &sConfigOC, TIM_CHANNEL_1) != HAL_OK)
  {
    Error_Handler();
  }
  HAL_TIM_MspPostInit(&htim3);

}

static void MX_USART1_UART_Init(void)
{

  huart1.Instance = USART1;
  huart1.Init.BaudRate = 115200;
  huart1.Init.WordLength = UART_WORDLENGTH_8B;
  huart1.Init.StopBits = UART_STOPBITS_1;
  huart1.Init.Parity = UART_PARITY_NONE;
  huart1.Init.Mode = UART_MODE_TX_RX;
  huart1.Init.HwFlowCtl = UART_HWCONTROL_NONE;
  huart1.Init.OverSampling = UART_OVERSAMPLING_16;
  huart1.Init.OneBitSampling = UART_ONE_BIT_SAMPLE_DISABLE;
  huart1.Init.ClockPrescaler = UART_PRESCALER_DIV1;
  huart1.AdvancedInit.AdvFeatureInit = UART_ADVFEATURE_NO_INIT;
  if (HAL_UART_Init(&huart1) != HAL_OK)
  {
    Error_Handler();
  }
  if (HAL_UARTEx_SetTxFifoThreshold(&huart1, UART_TXFIFO_THRESHOLD_1_8) != HAL_OK)
  {
    Error_Handler();
  }
  if (HAL_UARTEx_SetRxFifoThreshold(&huart1, UART_RXFIFO_THRESHOLD_1_8) != HAL_OK)
  {
    Error_Handler();
  }
  if (HAL_UARTEx_DisableFifoMode(&huart1) != HAL_OK)
  {
    Error_Handler();
  }

}

static void MX_DMA_Init(void)
{

  /* DMA controller clock enable */
  __HAL_RCC_DMAMUX1_CLK_ENABLE();
  __HAL_RCC_DMA1_CLK_ENABLE();

  /* DMA interrupt init */
  /* DMA1_Channel2_IRQn interrupt configuration */
  HAL_NVIC_SetPriority(DMA1_Channel2_IRQn, 0, 0);
  HAL_NVIC_EnableIRQ(DMA1_Channel2_IRQn);

}

static void MX_GPIO_Init(void)
{
  GPIO_InitTypeDef GPIO_InitStruct = {0};

  /* GPIO Ports Clock Enable */
  __HAL_RCC_GPIOF_CLK_ENABLE();
  __HAL_RCC_GPIOA_CLK_ENABLE();
  __HAL_RCC_GPIOB_CLK_ENABLE();

  /*Configure GPIO pin Output Level */
  HAL_GPIO_WritePin(GPIOA, GPIO_PIN_4|GPIO_PIN_5|GPIO_PIN_6|GPIO_PIN_7
                          |GPIO_PIN_8, GPIO_PIN_RESET);

  /*Configure GPIO pins : PA4 PA5 PA6 PA7 */
  GPIO_InitStruct.Pin = GPIO_PIN_4|GPIO_PIN_5|GPIO_PIN_6|GPIO_PIN_7;
  GPIO_InitStruct.Mode = GPIO_MODE_OUTPUT_PP;
  GPIO_InitStruct.Pull = GPIO_NOPULL;
  GPIO_InitStruct.Speed = GPIO_SPEED_FREQ_LOW;
  HAL_GPIO_Init(GPIOA, &GPIO_InitStruct);

  /*Configure GPIO pin : PA8 */
  GPIO_InitStruct.Pin = GPIO_PIN_8;
  GPIO_InitStruct.Mode = GPIO_MODE_OUTPUT_PP;
  GPIO_InitStruct.Pull = GPIO_NOPULL;
  GPIO_InitStruct.Speed = GPIO_SPEED_FREQ_MEDIUM;
  HAL_GPIO_Init(GPIOA, &GPIO_InitStruct);

}

void Error_Handler(void)
{
  __disable_irq();
  while (1)
  {
  }
}
